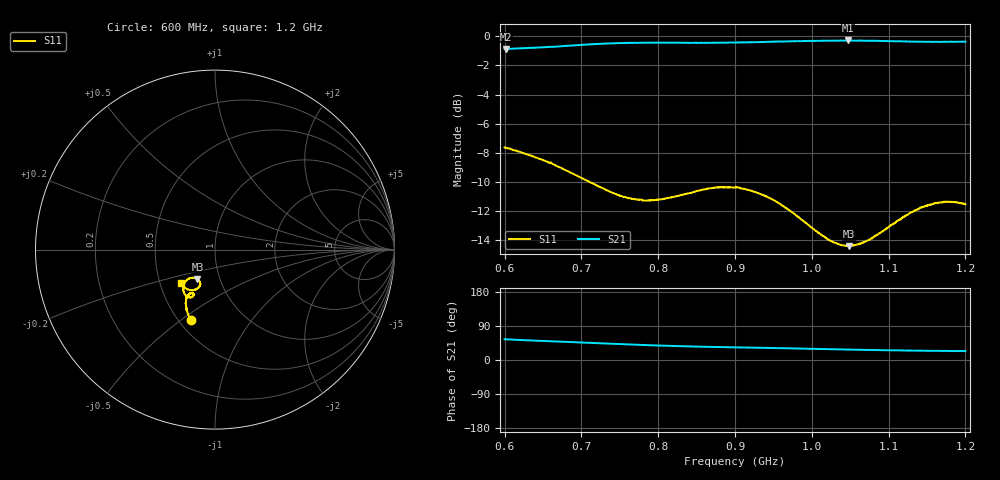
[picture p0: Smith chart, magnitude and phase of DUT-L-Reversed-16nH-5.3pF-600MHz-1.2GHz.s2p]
# HZ S RI R 50
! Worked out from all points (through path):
!   1010 points, 600 MHz to 1.2 GHz, reference 50 ohm
!   highest |S21| = -0.29 dB at 1.047 GHz (marker M1); lowest = -0.9 dB at 601.2 MHz (marker M2)
!   lowest |S11| = -14.4 dB at 1.048 GHz (marker M3), VSWR 1.47, Z = 39.1 - j13.3 ohm
!   |S11| at or under -10 dB: 711.1 MHz to end of sweep
!   S12 and S22 are empty: the file has one direction only
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6e8  -0.1347 -0.3933  0.5211 0.7392  0 0  0 0
6.011893e8  -0.1349 -0.3919  0.5231 0.7374  0 0  0 0
6.600594e8  -0.1605 -0.3331  0.5967 0.6985  0 0  0 0
7.004955e8  -0.162 -0.2834  0.6455 0.675  0 0  0 0
7.522299e8  -0.1403 -0.2458  0.7055 0.6326  0 0  0 0
7.831516e8  -0.1243 -0.2432  0.7332 0.603  0 0  0 0
8.003964e8  -0.1206 -0.2484  0.7475 0.5858  0 0  0 0
8.241823e8  -0.12 -0.2567  0.7611 0.5674  0 0  0 0
8.646184e8  -0.1378 -0.2662  0.779 0.5411  0 0  0 0
9.002972e8  -0.1624 -0.2572  0.7943 0.5227  0 0  0 0
9.460851e8  -0.1779 -0.2132  0.8129 0.5038  0 0  0 0
9.71655e8  -0.1704 -0.1858  0.8254 0.49  0 0  0 0
1.000198e9  -0.148 -0.1634  0.8379 0.4753  0 0  0 0
1.025768e9  -0.1209 -0.1572  0.8493 0.4578  0 0  0 0
1.046581e9  -0.1005 -0.1626  0.8575 0.4464  0 0  0 0
1.048365e9  -0.098 -0.1635  0.8569 0.4467  0 0  0 0
1.072151e9  -0.0848 -0.1805  0.8637 0.4305  0 0  0 0
1.100099e9  -0.0867 -0.2041  0.8674 0.4156  0 0  0 0
1.129831e9  -0.1111 -0.2233  0.8696 0.4007  0 0  0 0
1.150049e9  -0.1332 -0.2246  0.8721 0.3929  0 0  0 0
1.17443e9  -0.165 -0.215  0.8739 0.388  0 0  0 0
1.2e9  -0.1902 -0.1851  0.8778 0.3813  0 0  0 0
